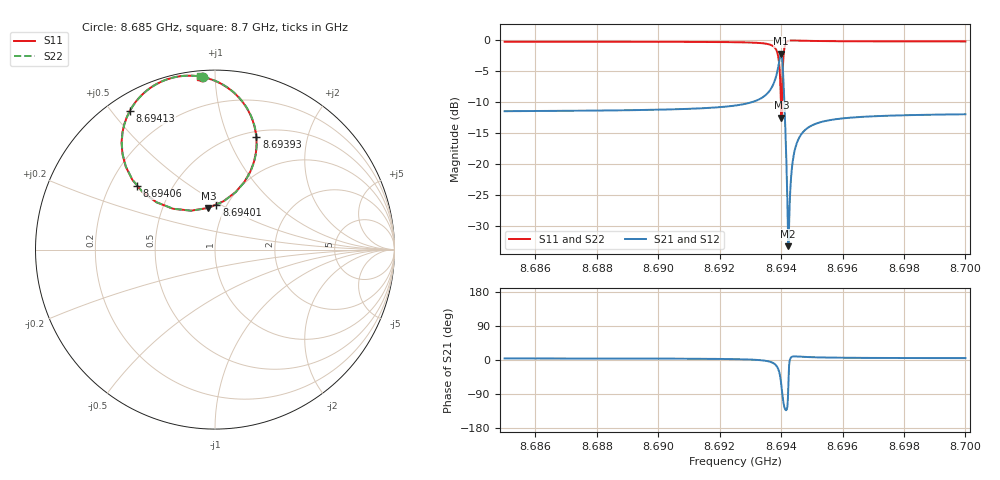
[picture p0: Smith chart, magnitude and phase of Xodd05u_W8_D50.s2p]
! Sonnet Data File
! From: emgraph Version : 16.52
! From Project: Qubit_Xmon2_brg_para2
! Data is De-embedded
! Data File Written: 11/12/2017 19:07:08
!< HDATE 11/12/2017 17:14:45
!< MDATE 11/12/2017 17:15:37
!< PARAMS
!< Lj = 11.0
!< Gap = 6.0
!< Pwid = 2000.0
!< Airgap = 6.0
!< Width = 10.0
!< Bwid = 8.0
!< Dis1 = 50.0
!< Dis2 = 56.0
!< END PARAMS
# GHZ S MA R 34.65000
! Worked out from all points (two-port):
!   3001 points, 8.685 GHz to 8.7 GHz, reference 34.65 ohm
!   highest |S21| = -2.23 dB at 8.694 GHz (marker M1); lowest = -33.3 dB at 8.69424 GHz (marker M2)
!   |S21| within 3 dB of the highest: 8.693872 GHz to 8.694063 GHz (191.1 kHz wide, 0.0022 % of centre)
!   lowest |S11| = -12.6 dB at 8.69401 GHz (marker M3), VSWR 1.62, Z = 29 + j14.3 ohm
!   |S11| at or under -10 dB: 8.693993 GHz to 8.694029 GHz (35.46 kHz wide, 0.000408 % of centre)
!   |S22| runs from -12.6 to -0.1 dB; largest |S21 - S12| = 0
!   S11 on the Smith chart (normalised r, x): 8.685 GHz: 0.03, +0.93; 8.69393 GHz: 0.56, +1.27; 8.69401 GHz: 0.90, +0.48; 8.69406 GHz: 0.31, +0.32; 8.69413 GHz: 0.06, +0.56; 8.7 GHz: 0.03, +0.92
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8.685  0.9641 94.2  0.2656 4.2  0.2656 4.2  0.9641 94.1
!< P1 F=8.685 Eeff=(5.13531798 -5.6615e-5) Z0=(34.6525852 -9.396e-5) R=0.0 C=0.0
!< P2 F=8.685 Eeff=(5.13531798 -5.6615e-5) Z0=(34.6525852 -9.396e-5) R=0.0 C=0.0
8.6875  0.9634 94.0  0.268 4.0  0.268 4.0  0.9634 93.9
8.69  0.9619 93.7  0.2732 3.7  0.2732 3.7  0.9619 93.6
8.6925  0.9551 92.4  0.2949 2.3  0.2949 2.3  0.9551 92.3
8.693265  0.9424 90.3  0.3291 -0.0  0.3291 -0.0  0.9424 90.2
8.693675  0.906 85.7  0.4042 -5.6  0.4042 -5.6  0.906 85.6
8.693835  0.8354 79.3  0.5041 -14.0  0.5041 -14.0  0.8354 79.2
8.69393  0.6673 69.8  0.6472 -29.3  0.6472 -29.3  0.6673 69.7
8.694  0.2738 79.9  0.774 -60.5  0.774 -60.5  0.2735 79.8
8.694005  0.249 88.3  0.7735 -63.8  0.7735 -63.8  0.2487 88.1
8.69401  0.2354 98.9  0.77 -67.3  0.77 -67.3  0.2351 98.8
8.694055  0.5605 140.9  0.5973 -99.7  0.5973 -99.7  0.5604 140.8
8.694095  0.8116 129.8  0.3687 -120.2  0.3687 -120.2  0.8115 129.7
8.69413  0.9067 121.6  0.221 -129.6  0.221 -129.6  0.9066 121.5
8.694185  0.962 113.7  0.08069 -130.3  0.08069 -130.3  0.9619 113.6
8.694235  0.9783 109.5  0.02174 -68.0  0.02174 -68.0  0.9783 109.4
8.69428  0.9839 107.0  0.04747 -1.7  0.04747 -1.7  0.9838 106.9
8.694375  0.9864 103.6  0.1029 9.0  0.1029 9.0  0.9864 103.5
8.69449  0.9852 101.4  0.1416 9.4  0.1416 9.4  0.9852 101.3
8.695  0.9779 97.8  0.2039 7.4  0.2039 7.4  0.9779 97.7
8.6975  0.9696 95.4  0.2444 5.3  0.2444 5.3  0.9696 95.3
8.7  0.9679 94.9  0.251 4.9  0.251 4.9  0.9679 94.9
